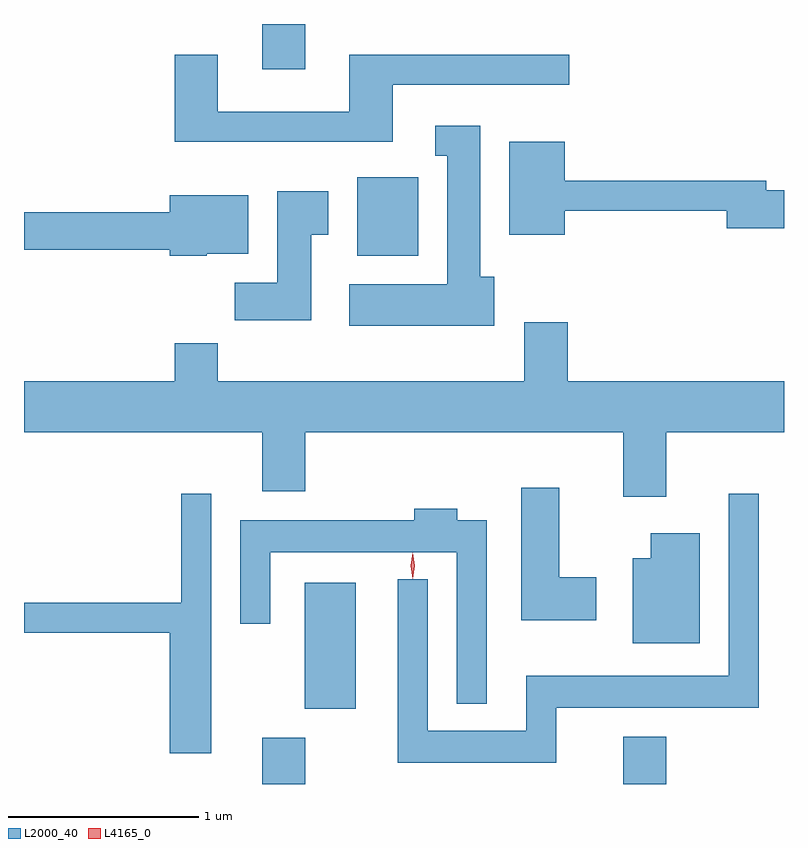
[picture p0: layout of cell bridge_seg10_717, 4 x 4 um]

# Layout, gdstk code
import gdstk
lib = gdstk.Library(unit=1e-6, precision=1e-09)
def R(c, l, rs):  # rectangles x0, y0, x1, y1
    for r in rs: c.add(gdstk.rectangle(r[:2], r[2:], *l))
def P(c, l, *ps):  # polygons
    for p in ps: c.add(gdstk.Polygon(p, *l))
L2000_40 = (2000, 40)
L4165_0 = (4165, 0)

bridge_seg10_717 = lib.new_cell('bridge_seg10_717')
R(bridge_seg10_717, L2000_40, [(949.491,2123.165,949.719,2123.409), (951.391,2123.165,951.619,2123.414), (949.716,2123.561,949.984,2124.224), (949.991,2125.946,950.314,2126.359), (949.491,2126.926,949.719,2127.165)])
P(bridge_seg10_717, L2000_40, [(950.179,2126.846),(951.108,2126.846),(951.108,2127.004),(949.951,2127.004),(949.951,2126.704),(949.259,2126.704),(949.259,2127.004),(949.031,2127.004),(949.031,2126.546),(950.179,2126.546)],
  [(950.714,2125.834),(950.639,2125.834),(950.639,2126.629),(950.403,2126.629),(950.403,2126.471),(950.466,2126.471),(950.466,2125.794),(949.951,2125.794),(949.951,2125.576),(950.714,2125.576)],
  [(951.084,2126.181),(951.936,2126.181),(951.936,2126.091),(952.238,2126.091),(952.238,2126.289),(952.144,2126.289),(952.144,2126.339),(951.084,2126.339),(951.084,2126.544),(950.791,2126.544),(950.791,2126.056),(951.084,2126.056)],
  [(949.749,2126.056),(949.839,2126.056),(949.839,2126.284),(949.571,2126.284),(949.571,2125.804),(949.346,2125.804),(949.346,2125.606),(949.749,2125.606)],
  [(949.2,2125.956),(949.419,2125.956),(949.419,2126.264),(949.006,2126.264),(949.006,2126.174),(948.238,2126.174),(948.238,2125.976),(949.006,2125.976),(949.006,2125.946),(949.2,2125.946)],
  [(951.619,2125.016),(952.238,2125.016),(952.238,2125.284),(951.099,2125.284),(951.099,2125.594),(950.871,2125.594),(950.871,2125.284),(949.259,2125.284),(949.259,2125.484),(949.031,2125.484),(949.031,2125.284),(948.238,2125.284),(948.238,2125.016),(949.491,2125.016),(949.491,2124.706),(949.719,2124.706),(949.719,2125.016),(951.391,2125.016),(951.391,2124.676),(951.619,2124.676)],
  [(951.249,2124.254),(951.054,2124.254),(951.054,2124.724),(950.856,2124.724),(950.856,2124.026),(951.249,2124.026)],
  [(949.224,2124.693),(949.066,2124.693),(949.066,2124.119),(948.238,2124.119),(948.238,2123.961),(949.006,2123.961),(949.006,2123.326),(949.224,2123.326)],
  [(951.039,2123.566),(952.104,2123.566),(952.104,2124.693),(951.946,2124.693),(951.946,2123.734),(950.881,2123.734),(950.881,2123.444),(950.364,2123.444),(950.364,2124.243),(950.206,2124.243),(950.206,2123.276),(951.039,2123.276)],
  [(950.674,2124.554),(950.519,2124.554),(950.519,2124.614),(950.291,2124.614),(950.291,2124.554),(949.376,2124.554),(949.376,2124.008),(949.534,2124.008),(949.534,2124.386),(950.516,2124.386),(950.516,2123.588),(950.674,2123.588)],
  [(951.794,2124.484),(951.536,2124.484),(951.536,2124.354),(951.441,2124.354),(951.441,2123.906),(951.794,2123.906)])
P(bridge_seg10_717, L4165_0, [(950.283,2124.247),(950.274,2124.314),(950.283,2124.38),(950.284,2124.38),(950.284,2124.38),(950.294,2124.314),(950.284,2124.247),(950.284,2124.247)],
  [(950.283,2124.244),(950.274,2124.314),(950.283,2124.382),(950.284,2124.383),(950.284,2124.382),(950.294,2124.314),(950.284,2124.244),(950.284,2124.244)])

lib.write_gds('bridge_seg10_717.gds')
